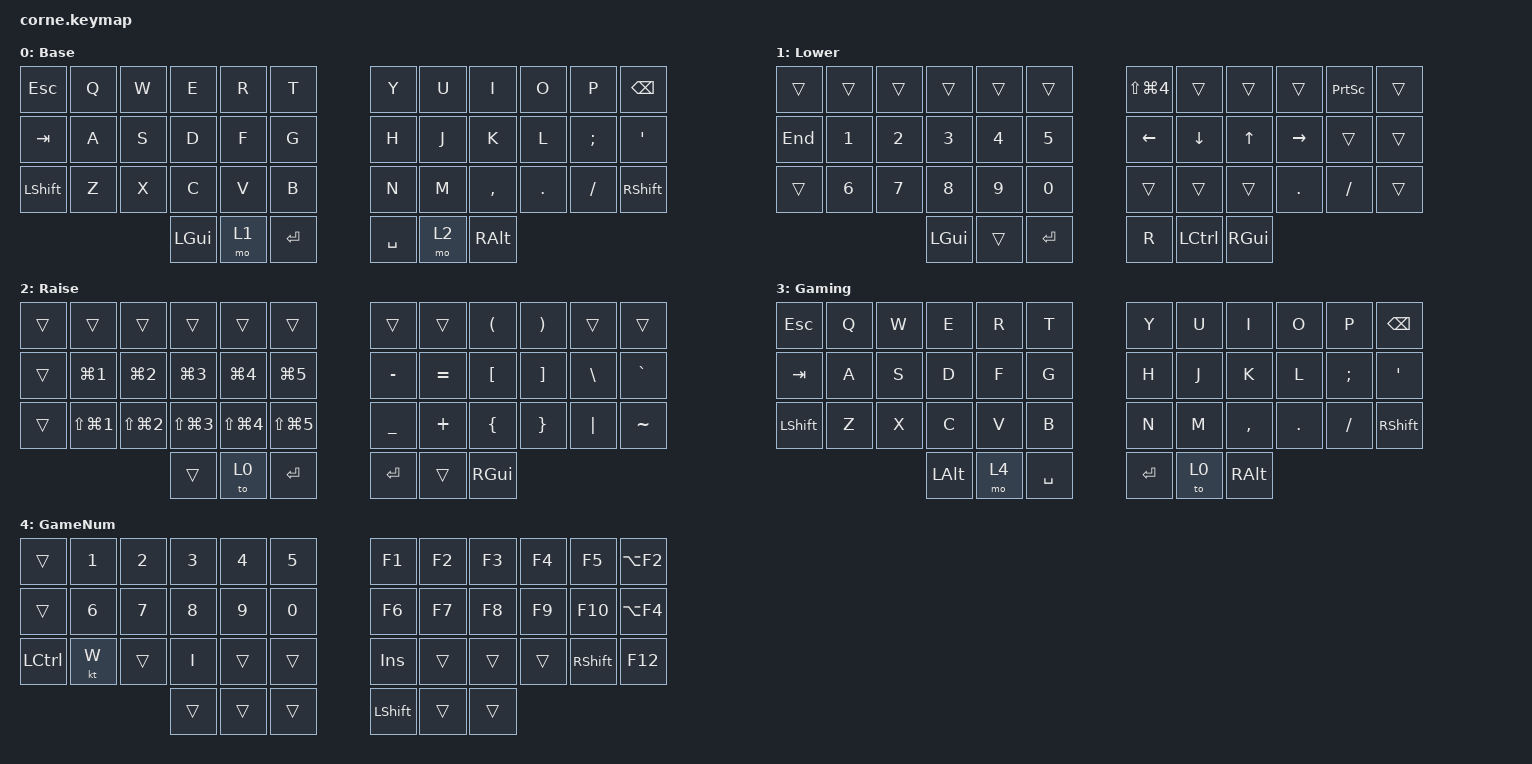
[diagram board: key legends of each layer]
/*
 * Copyright (c) 2020 The ZMK Contributors
 *
 * SPDX-License-Identifier: MIT
 */

#include <behaviors.dtsi>
#include <dt-bindings/zmk/keys.h>

/ {
    keymap {
        compatible = "zmk,keymap";

        default_layer {
            display-name = "Base";
            bindings = <
&kp ESCAPE  &kp Q  &kp W  &kp E     &kp R  &kp T        &kp Y      &kp U  &kp I      &kp O    &kp P     &kp BSPC
&kp TAB     &kp A  &kp S  &kp D     &kp F  &kp G        &kp H      &kp J  &kp K      &kp L    &kp SEMI  &kp SQT
&kp LSHFT   &kp Z  &kp X  &kp C     &kp V  &kp B        &kp N      &kp M  &kp COMMA  &kp DOT  &kp FSLH  &kp RIGHT_SHIFT
                          &kp LGUI  &mo 1  &kp ENTER    &kp SPACE  &mo 2  &kp RALT
            >;
        };

        lower_layer {
            display-name = "Lower";
            bindings = <
&trans   &trans        &trans        &trans        &trans        &trans          &kp LS(LG(NUMBER_4))  &trans     &trans         &trans      &kp PRINTSCREEN  &trans
&kp END  &kp NUMBER_1  &kp NUMBER_2  &kp NUMBER_3  &kp NUMBER_4  &kp N5          &kp LEFT              &kp DOWN   &kp UP         &kp RIGHT   &trans           &trans
&trans   &kp NUMBER_6  &kp NUMBER_7  &kp NUMBER_8  &kp NUMBER_9  &kp NUMBER_0    &trans                &trans     &trans         &kp PERIOD  &kp SLASH        &trans
                                     &kp LGUI      &trans        &kp RET         &kp R                 &kp LCTRL  &kp RIGHT_GUI
            >;
        };

        raise_layer {
            display-name = "Raise";
            bindings = <
&trans  &trans                &trans                &trans                &trans                &trans                  &trans     &trans     &kp LPAR       &kp RPAR  &trans    &trans
&trans  &kp LG(NUMBER_1)      &kp LG(NUMBER_2)      &kp LG(NUMBER_3)      &kp LG(NUMBER_4)      &kp LG(NUMBER_5)        &kp MINUS  &kp EQUAL  &kp LBKT       &kp RBKT  &kp BSLH  &kp GRAVE
&trans  &kp LS(LG(NUMBER_1))  &kp LS(LG(NUMBER_2))  &kp LS(LG(NUMBER_3))  &kp LS(LG(NUMBER_4))  &kp LS(LG(NUMBER_5))    &kp UNDER  &kp PLUS   &kp LBRC       &kp RBRC  &kp PIPE  &kp TILDE
                                                                          &trans                &to 0                 &kp RET                 &kp RET    &trans     &kp RIGHT_GUI
            >;
        };

        gaming_layer {
            display-name = "Gaming";
            bindings = <
&kp ESCAPE  &kp Q  &kp W  &kp E         &kp R  &kp T        &kp Y      &kp U  &kp I      &kp O    &kp P     &kp BSPC
&kp TAB     &kp A  &kp S  &kp D         &kp F  &kp G        &kp H      &kp J  &kp K      &kp L    &kp SEMI  &kp SQT
&kp LSHFT   &kp Z  &kp X  &kp C         &kp V  &kp B        &kp N      &kp M  &kp COMMA  &kp DOT  &kp FSLH  &kp RIGHT_SHIFT
                          &kp LEFT_ALT  &mo 4  &kp SPACE    &kp ENTER  &to 0  &kp RALT
            >;
        };

        gaming_numbers_layer {
            display-name = "GameNum";
            bindings = <
&trans     &kp NUMBER_1  &kp NUMBER_2  &kp NUMBER_3  &kp NUMBER_4  &kp NUMBER_5    &kp F1          &kp F2  &kp F3  &kp F4  &kp F5           &kp LA(F2)
&trans     &kp NUMBER_6  &kp NUMBER_7  &kp NUMBER_8  &kp NUMBER_9  &kp NUMBER_0    &kp F6          &kp F7  &kp F8  &kp F9  &kp F10          &kp LA(F4)
&kp LCTRL  &kt W         &trans        &kp I         &trans        &trans          &kp INS         &trans  &trans  &trans  &kp RIGHT_SHIFT  &kp F12
                                                     &trans        &trans          &trans          &kp LEFT_SHIFT  &trans  &trans
            >;
        };
    };
};
